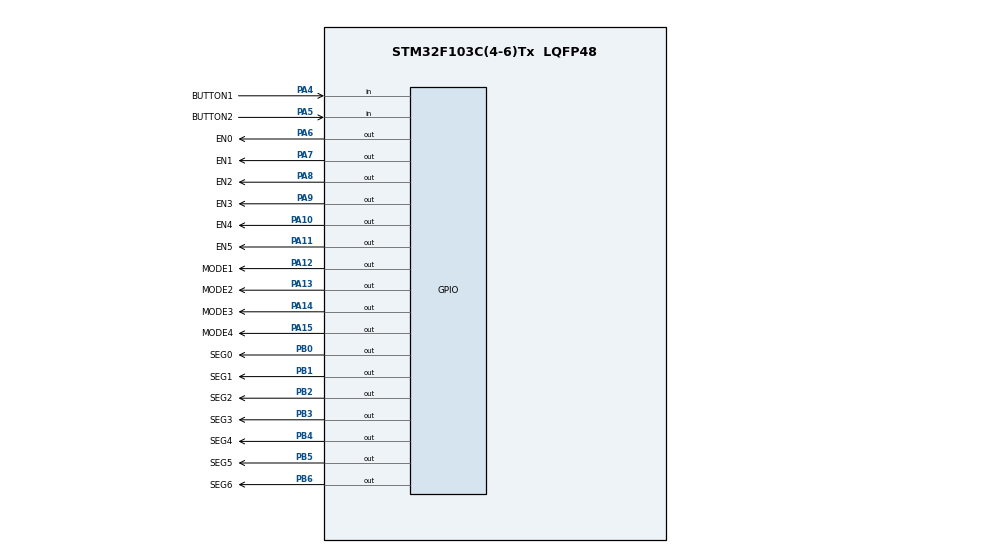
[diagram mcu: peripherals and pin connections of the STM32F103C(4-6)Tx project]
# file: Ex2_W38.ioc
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Mcu.Family=STM32F1
PD1-OSC_OUT.Mode=HSE-External-Oscillator
PA9.GPIO_Label=EN3
PA14.GPIO_Label=MODE3
PA11.GPIO_Label=EN5
PA6.GPIO_Label=EN0
PB0.GPIO_Label=SEG0
PB6.GPIO_Label=SEG6
PD0-OSC_IN.Signal=RCC_OSC_IN
VP_SYS_VS_ND.Mode=No_Debug
PA12.GPIO_Label=MODE1
ProjectManager.StackSize=0x400
PD1-OSC_OUT.Signal=RCC_OSC_OUT
PA13.Signal=GPIO_Output
PA15.GPIO_Label=MODE4
PA12.Signal=GPIO_Output
PA8.GPIO_Label=EN2
ProjectManager.TargetToolchain=STM32CubeIDE
PA9.Signal=GPIO_Output
PB6.Signal=GPIO_Output
PD0-OSC_IN.Mode=HSE-External-Oscillator
PA5.Signal=GPIO_Input
PB2.Signal=GPIO_Output
board=custom
RCC.APB2Freq_Value=8000000
PB4.GPIO_Label=SEG4
VP_TIM2_VS_ClockSourceINT.Mode=Internal
PB1.GPIO_Label=SEG1
NVIC.TIM2_IRQn=true\:0\:0\:false\:false\:true\:true\:true
PA10.GPIO_Label=EN4
PA8.Signal=GPIO_Output
TIM2.Period=9
Mcu.Name=STM32F103C(4-6)Tx
PA13.GPIO_Label=MODE2
PB3.Signal=GPIO_Output
PA4.Signal=GPIO_Input
Mcu.Package=LQFP48
PB5.Signal=GPIO_Output
TIM2.Prescaler=7999
PB1.Signal=GPIO_Output
PA6.Signal=GPIO_Output
PA7.GPIO_Label=EN1
PA5.GPIO_Label=BUTTON2
PA11.Signal=GPIO_Output
PA10.Signal=GPIO_Output
PA14.Signal=GPIO_Output
PB2.GPIO_Label=SEG2
PA15.Signal=GPIO_Output
ProjectManager.HeapSize=0x200
NVIC.PriorityGroup=NVIC_PRIORITYGROUP_4
PB5.GPIO_Label=SEG5
RCC.APB1Freq_Value=8000000
PB0.Signal=GPIO_Output
PA4.GPIO_Label=BUTTON1
PB4.Signal=GPIO_Output
PA7.Signal=GPIO_Output
PB3.GPIO_Label=SEG3

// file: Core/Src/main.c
/* USER CODE BEGIN Header */
/**
  ******************************************************************************
  * @file           : main.c
  * @brief          : Main program body
  ******************************************************************************
  * @attention
  *
  * <h2><center>&copy; Copyright (c) 2021 STMicroelectronics.
  * All rights reserved.</center></h2>
  *
  * This software component is licensed by ST under BSD 3-Clause license,
  * the "License"; You may not use this file except in compliance with the
  * License. You may obtain a copy of the License at:
  *                        opensource.org/licenses/BSD-3-Clause
  *
  ******************************************************************************
  */
/* USER CODE END Header */
#include "main.h"
#include "input_processing.h"

/* USER CODE BEGIN Includes */

#define time_auto_incre 20 //0.2s

enum ButtonState1 {BUTTON1_RELEASED, BUTTON1_PRESSED};
enum ButtonState1 buttonState1 = BUTTON1_RELEASED ;

enum ButtonState2 {BUTTON2_RELEASED, BUTTON2_PRESSED, BUTTON2_PRESSED_MORE_THAN_1_SECOND};
enum ButtonState2 buttonState2 = BUTTON2_RELEASED ;

int mode = -1;
int down = 100;
int flag_auto_incre = 0;
int start = 0;

void display7SEG(int num) //display 7SEG-LED
{
	/*HAL_GPIO_WritePin(GPIOB, GPIO_PIN_0, GPIO_PIN_SET);
	HAL_GPIO_WritePin(GPIOB, GPIO_PIN_1, GPIO_PIN_SET);
	HAL_GPIO_WritePin(GPIOB, GPIO_PIN_2, GPIO_PIN_SET);
	HAL_GPIO_WritePin(GPIOB, GPIO_PIN_3, GPIO_PIN_SET);
	HAL_GPIO_WritePin(GPIOB, GPIO_PIN_4, GPIO_PIN_SET);
	HAL_GPIO_WritePin(GPIOB, GPIO_PIN_5, GPIO_PIN_SET);
	HAL_GPIO_WritePin(GPIOB, GPIO_PIN_6, GPIO_PIN_SET);*/
	switch (num) {
		case 0:
			HAL_GPIO_WritePin(GPIOB, GPIO_PIN_0, GPIO_PIN_RESET);
			HAL_GPIO_WritePin(GPIOB, GPIO_PIN_1, GPIO_PIN_RESET);
			HAL_GPIO_WritePin(GPIOB, GPIO_PIN_2, GPIO_PIN_RESET);
			HAL_GPIO_WritePin(GPIOB, GPIO_PIN_3, GPIO_PIN_RESET);
			HAL_GPIO_WritePin(GPIOB, GPIO_PIN_4, GPIO_PIN_RESET);
			HAL_GPIO_WritePin(GPIOB, GPIO_PIN_5, GPIO_PIN_RESET);
			HAL_GPIO_WritePin(GPIOB, GPIO_PIN_6, GPIO_PIN_SET);
			break;
		case 1:
			HAL_GPIO_WritePin(GPIOB, GPIO_PIN_0, GPIO_PIN_SET);
				HAL_GPIO_WritePin(GPIOB, GPIO_PIN_1, GPIO_PIN_RESET);
				HAL_GPIO_WritePin(GPIOB, GPIO_PIN_2, GPIO_PIN_RESET);
				HAL_GPIO_WritePin(GPIOB, GPIO_PIN_3, GPIO_PIN_SET);
				HAL_GPIO_WritePin(GPIOB, GPIO_PIN_4, GPIO_PIN_SET);
				HAL_GPIO_WritePin(GPIOB, GPIO_PIN_5, GPIO_PIN_SET);
				HAL_GPIO_WritePin(GPIOB, GPIO_PIN_6, GPIO_PIN_SET);
			break;
		case 2:
			HAL_GPIO_WritePin(GPIOB, GPIO_PIN_0, GPIO_PIN_RESET);
				HAL_GPIO_WritePin(GPIOB, GPIO_PIN_1, GPIO_PIN_RESET);
				HAL_GPIO_WritePin(GPIOB, GPIO_PIN_2, GPIO_PIN_SET);
				HAL_GPIO_WritePin(GPIOB, GPIO_PIN_3, GPIO_PIN_RESET);
				HAL_GPIO_WritePin(GPIOB, GPIO_PIN_4, GPIO_PIN_RESET);
				HAL_GPIO_WritePin(GPIOB, GPIO_PIN_5, GPIO_PIN_SET);
				HAL_GPIO_WritePin(GPIOB, GPIO_PIN_6, GPIO_PIN_RESET);
			break;
		case 3:
			HAL_GPIO_WritePin(GPIOB, GPIO_PIN_0, GPIO_PIN_RESET);
				HAL_GPIO_WritePin(GPIOB, GPIO_PIN_1, GPIO_PIN_RESET);
				HAL_GPIO_WritePin(GPIOB, GPIO_PIN_2, GPIO_PIN_RESET);
				HAL_GPIO_WritePin(GPIOB, GPIO_PIN_3, GPIO_PIN_RESET);
				HAL_GPIO_WritePin(GPIOB, GPIO_PIN_4, GPIO_PIN_SET);
				HAL_GPIO_WritePin(GPIOB, GPIO_PIN_5, GPIO_PIN_SET);
				HAL_GPIO_WritePin(GPIOB, GPIO_PIN_6, GPIO_PIN_RESET);
			break;
		case 4:
			HAL_GPIO_WritePin(GPIOB, GPIO_PIN_0, GPIO_PIN_SET);
				HAL_GPIO_WritePin(GPIOB, GPIO_PIN_1, GPIO_PIN_RESET);
				HAL_GPIO_WritePin(GPIOB, GPIO_PIN_2, GPIO_PIN_RESET);
				HAL_GPIO_WritePin(GPIOB, GPIO_PIN_3, GPIO_PIN_SET);
				HAL_GPIO_WritePin(GPIOB, GPIO_PIN_4, GPIO_PIN_SET);
				HAL_GPIO_WritePin(GPIOB, GPIO_PIN_5, GPIO_PIN_RESET);
				HAL_GPIO_WritePin(GPIOB, GPIO_PIN_6, GPIO_PIN_RESET);
			break;
		case 5:
			HAL_GPIO_WritePin(GPIOB, GPIO_PIN_0, GPIO_PIN_RESET);
				HAL_GPIO_WritePin(GPIOB, GPIO_PIN_1, GPIO_PIN_SET);
				HAL_GPIO_WritePin(GPIOB, GPIO_PIN_2, GPIO_PIN_RESET);
				HAL_GPIO_WritePin(GPIOB, GPIO_PIN_3, GPIO_PIN_RESET);
				HAL_GPIO_WritePin(GPIOB, GPIO_PIN_4, GPIO_PIN_SET);
				HAL_GPIO_WritePin(GPIOB, GPIO_PIN_5, GPIO_PIN_RESET);
				HAL_GPIO_WritePin(GPIOB, GPIO_PIN_6, GPIO_PIN_RESET);
			break;
		case 6:
			HAL_GPIO_WritePin(GPIOB, GPIO_PIN_0, GPIO_PIN_RESET);
				HAL_GPIO_WritePin(GPIOB, GPIO_PIN_1, GPIO_PIN_SET);
				HAL_GPIO_WritePin(GPIOB, GPIO_PIN_2, GPIO_PIN_RESET);
				HAL_GPIO_WritePin(GPIOB, GPIO_PIN_3, GPIO_PIN_RESET);
				HAL_GPIO_WritePin(GPIOB, GPIO_PIN_4, GPIO_PIN_RESET);
				HAL_GPIO_WritePin(GPIOB, GPIO_PIN_5, GPIO_PIN_RESET);
				HAL_GPIO_WritePin(GPIOB, GPIO_PIN_6, GPIO_PIN_RESET);
			break;
		case 7:
			HAL_GPIO_WritePin(GPIOB, GPIO_PIN_0, GPIO_PIN_RESET);
				HAL_GPIO_WritePin(GPIOB, GPIO_PIN_1, GPIO_PIN_RESET);
				HAL_GPIO_WritePin(GPIOB, GPIO_PIN_2, GPIO_PIN_RESET);
				HAL_GPIO_WritePin(GPIOB, GPIO_PIN_3, GPIO_PIN_SET);
				HAL_GPIO_WritePin(GPIOB, GPIO_PIN_4, GPIO_PIN_SET);
				HAL_GPIO_WritePin(GPIOB, GPIO_PIN_5, GPIO_PIN_SET);
				HAL_GPIO_WritePin(GPIOB, GPIO_PIN_6, GPIO_PIN_SET);
			break;
		case 8:
			HAL_GPIO_WritePin(GPIOB, GPIO_PIN_0, GPIO_PIN_RESET);
			HAL_GPIO_WritePin(GPIOB, GPIO_PIN_1, GPIO_PIN_RESET);
			HAL_GPIO_WritePin(GPIOB, GPIO_PIN_2, GPIO_PIN_RESET);
			HAL_GPIO_WritePin(GPIOB, GPIO_PIN_3, GPIO_PIN_RESET);
			HAL_GPIO_WritePin(GPIOB, GPIO_PIN_4, GPIO_PIN_RESET);
			HAL_GPIO_WritePin(GPIOB, GPIO_PIN_5, GPIO_PIN_RESET);
			HAL_GPIO_WritePin(GPIOB, GPIO_PIN_6, GPIO_PIN_RESET);

			break;
		case 9:
			HAL_GPIO_WritePin(GPIOB, GPIO_PIN_0, GPIO_PIN_RESET);
			HAL_GPIO_WritePin(GPIOB, GPIO_PIN_1, GPIO_PIN_RESET);
			HAL_GPIO_WritePin(GPIOB, GPIO_PIN_2, GPIO_PIN_RESET);
			HAL_GPIO_WritePin(GPIOB, GPIO_PIN_3, GPIO_PIN_RESET);
			HAL_GPIO_WritePin(GPIOB, GPIO_PIN_4, GPIO_PIN_SET);
			HAL_GPIO_WritePin(GPIOB, GPIO_PIN_5, GPIO_PIN_RESET);
			HAL_GPIO_WritePin(GPIOB, GPIO_PIN_6, GPIO_PIN_RESET);
			break;
		default:
			HAL_GPIO_WritePin(GPIOB, GPIO_PIN_3, GPIO_PIN_SET);
			break;
		}
}
/* USER CODE END PTD */

/* Private define ------------------------------------------------------------*/
/* USER CODE BEGIN PD */
/* USER CODE END PD */

/* Private macro -------------------------------------------------------------*/
/* USER CODE BEGIN PM */

int time[3] = {15, 8, 50};
int min=0, sec=0, msec=0;
const int MAX_LED = 6;
int index_led = 0;
int led_buffer [6] = {1 , 2 , 3 , 4, 5, 6};
void update7SEG ( int index ) {
switch ( index ) {
case 0:
 // Display the first 7 SEG with led_buffer [0]
	HAL_GPIO_WritePin(GPIOA, GPIO_PIN_6, 0);
	HAL_GPIO_WritePin(GPIOA, GPIO_PIN_7, 1);
	HAL_GPIO_WritePin(GPIOA, GPIO_PIN_8, 1);
	HAL_GPIO_WritePin(GPIOA, GPIO_PIN_9, 1);
	HAL_GPIO_WritePin(GPIOA, GPIO_PIN_10, 1);
	HAL_GPIO_WritePin(GPIOA, GPIO_PIN_11, 1);
	display7SEG(led_buffer[0]);
 break ;
 case 1:
 // Display the second 7 SEG with led_buffer [1]
	 HAL_GPIO_WritePin(GPIOA, GPIO_PIN_6, 1);
	 HAL_GPIO_WritePin(GPIOA, GPIO_PIN_7, 0);
	 HAL_GPIO_WritePin(GPIOA, GPIO_PIN_8, 1);
	 HAL_GPIO_WritePin(GPIOA, GPIO_PIN_9, 1);
		HAL_GPIO_WritePin(GPIOA, GPIO_PIN_10, 1);
		HAL_GPIO_WritePin(GPIOA, GPIO_PIN_11, 1);
	 display7SEG(led_buffer[1]);
 break ;
 case 2:
 // Display the third 7 SEG with led_buffer [2]
	 HAL_GPIO_WritePin(GPIOA, GPIO_PIN_6, 1);
	 HAL_GPIO_WritePin(GPIOA, GPIO_PIN_7, 1);
	 HAL_GPIO_WritePin(GPIOA, GPIO_PIN_8, 0);
	 HAL_GPIO_WritePin(GPIOA, GPIO_PIN_9, 1);
		HAL_GPIO_WritePin(GPIOA, GPIO_PIN_10, 1);
		HAL_GPIO_WritePin(GPIOA, GPIO_PIN_11, 1);
	 display7SEG(led_buffer[2]);
 break ;
 case 3:
 // Display the forth 7 SEG with led_buffer [3]
	 HAL_GPIO_WritePin(GPIOA, GPIO_PIN_6, 1);
	 HAL_GPIO_WritePin(GPIOA, GPIO_PIN_7, 1);
	 HAL_GPIO_WritePin(GPIOA, GPIO_PIN_8, 1);
	 HAL_GPIO_WritePin(GPIOA, GPIO_PIN_9, 0);
		HAL_GPIO_WritePin(GPIOA, GPIO_PIN_10, 1);
		HAL_GPIO_WritePin(GPIOA, GPIO_PIN_11, 1);
	 display7SEG(led_buffer[3]);
 break ;
 case 4:
 // Display the forth 7 SEG with led_buffer [3]
	 HAL_GPIO_WritePin(GPIOA, GPIO_PIN_6, 1);
	 HAL_GPIO_WritePin(GPIOA, GPIO_PIN_7, 1);
	 HAL_GPIO_WritePin(GPIOA, GPIO_PIN_8, 1);
	 HAL_GPIO_WritePin(GPIOA, GPIO_PIN_9, 1);
		HAL_GPIO_WritePin(GPIOA, GPIO_PIN_10, 0);
		HAL_GPIO_WritePin(GPIOA, GPIO_PIN_11, 1);
	 display7SEG(led_buffer[4]);
 break ;
 case 5:
 // Display the forth 7 SEG with led_buffer [3]
	 HAL_GPIO_WritePin(GPIOA, GPIO_PIN_6, 1);
	 HAL_GPIO_WritePin(GPIOA, GPIO_PIN_7, 1);
	 HAL_GPIO_WritePin(GPIOA, GPIO_PIN_8, 1);
	 HAL_GPIO_WritePin(GPIOA, GPIO_PIN_9, 1);
		HAL_GPIO_WritePin(GPIOA, GPIO_PIN_10, 1);
		HAL_GPIO_WritePin(GPIOA, GPIO_PIN_11, 0);
	 display7SEG(led_buffer[5]);
 break ;
 default :
 break ;
 }
 }

void updateClockBuffer()
{
	if(mode==4)
	{
		led_buffer[0] = min/10;
		led_buffer[1] = min%10;
		led_buffer[2] = sec/10;
		led_buffer[3] = sec%10;
		led_buffer[4] = msec/10;
		led_buffer[5] = msec%10;
	}
	else
	{
		led_buffer[0] = time[0]/10;
		led_buffer[1] = time[0]%10;
		led_buffer[2] = time[1]/10;
		led_buffer[3] = time[1]%10;
		led_buffer[4] = time[2]/10;
		led_buffer[5] = time[2]%10;
	}
}

/* USER CODE END Includes */

/* USER CODE BEGIN PTD */
int timer0_counter = 0;
int timer0_flag = 0;
int TIMER_CYCLE = 10;

int timer1_counter = 0;
int timer1_flag = 0;

void setTimer0(int duration ) {
	timer0_counter = duration / TIMER_CYCLE ;
	timer0_flag = 0;
}
void setTimer1(int duration ) {
	timer1_counter = duration / TIMER_CYCLE ;
	timer1_flag = 0;
}
void timerun() {
	if( timer0_counter > 0) {
		timer0_counter--;
		if( timer0_counter == 0) timer0_flag = 1;
	}
	if( timer1_counter > 0) {
		timer1_counter--;
		if( timer1_counter == 0) timer1_flag = 1;
	}
}
/* USER CODE END PTD */

/* USER CODE BEGIN PM */

/* USER CODE END PTD */

/* Private define ------------------------------------------------------------*/
/* USER CODE BEGIN PD */
/* USER CODE END PD */

/* Private macro -------------------------------------------------------------*/
/* USER CODE BEGIN PM */
void led_of_mode(void){
	switch(mode){
	case 0:
		  HAL_GPIO_WritePin(GPIOA, GPIO_PIN_12, 1);
		  HAL_GPIO_WritePin(GPIOA, GPIO_PIN_13, 1);
		  HAL_GPIO_WritePin(GPIOA, GPIO_PIN_14, 1);
		  HAL_GPIO_WritePin(GPIOA, GPIO_PIN_15, 1);
		break;
	case 1:
		  HAL_GPIO_WritePin(GPIOA, GPIO_PIN_12, 0);
		  HAL_GPIO_WritePin(GPIOA, GPIO_PIN_13, 1);
		  HAL_GPIO_WritePin(GPIOA, GPIO_PIN_14, 1);
		  HAL_GPIO_WritePin(GPIOA, GPIO_PIN_15, 1);
		 // HAL_GPIO_TogglePin(GPIOA, GPIO_PIN_6);
		 // HAL_GPIO_TogglePin(GPIOA, GPIO_PIN_7);
		break;
	case 2:
		  HAL_GPIO_WritePin(GPIOA, GPIO_PIN_12, 1);
		  HAL_GPIO_WritePin(GPIOA, GPIO_PIN_13, 0);
		  HAL_GPIO_WritePin(GPIOA, GPIO_PIN_14, 1);
		  HAL_GPIO_WritePin(GPIOA, GPIO_PIN_15, 1);
		 //HAL_GPIO_TogglePin( GPIOA, GPIO_PIN_8 );
		 // HAL_GPIO_TogglePin( GPIOA, GPIO_PIN_9 );
		break;
	case 3:
		  HAL_GPIO_WritePin(GPIOA, GPIO_PIN_12, 1);
		  HAL_GPIO_WritePin(GPIOA, GPIO_PIN_13, 1);
		  HAL_GPIO_WritePin(GPIOA, GPIO_PIN_14, 0);
		  HAL_GPIO_WritePin(GPIOA, GPIO_PIN_15, 1);
		  //HAL_GPIO_TogglePin( GPIOA, GPIO_PIN_10 );
		 // HAL_GPIO_TogglePin( GPIOA, GPIO_PIN_11 );
		break;
	case 4:
		  HAL_GPIO_WritePin(GPIOA, GPIO_PIN_12, 1);
		  HAL_GPIO_WritePin(GPIOA, GPIO_PIN_13, 1);
		  HAL_GPIO_WritePin(GPIOA, GPIO_PIN_14, 1);
		  HAL_GPIO_WritePin(GPIOA, GPIO_PIN_15, 0);
		break;

	default:
	  HAL_GPIO_WritePin(GPIOA, GPIO_PIN_12, 1);
	  HAL_GPIO_WritePin(GPIOA, GPIO_PIN_13, 1);
	  HAL_GPIO_WritePin(GPIOA, GPIO_PIN_14, 1);
	  HAL_GPIO_WritePin(GPIOA, GPIO_PIN_15, 1);
		break;
	}
}

void fsm_for_input1_processing(void){
	led_of_mode();
	switch(buttonState1){
	case BUTTON1_RELEASED:
		if(get_button_value(0) == GPIO_PIN_RESET ) {
			buttonState1 = BUTTON1_PRESSED;
			if(mode == 4) mode = 0; else mode++;
			if(mode == 4)
			{
				min = 0;
				sec = 0;
				msec = 0;
				start = 0;
			}
		}
		break;
	case BUTTON1_PRESSED:
		if(get_button_value(0) == GPIO_PIN_SET ) {
			buttonState1 = BUTTON1_RELEASED;
		}
		break;
	default:
		break;
	}
}
void fsm_for_input2_processing(void){
	switch(buttonState2){
	case BUTTON2_RELEASED:
		if(get_button_value(1) == GPIO_PIN_RESET ) {
			buttonState2 = BUTTON2_PRESSED;
			if(mode==1||mode==2||mode==3) {time[mode-1]++;}
			if(mode==4) {start = 1-start;}
			if(start==0)
			{
				msec = 0;
				sec = 0;
				min = 0;
			}
		}
		break;
	case BUTTON2_PRESSED:
		if(get_button_value(1) == GPIO_PIN_SET ) {
			buttonState2 = BUTTON2_RELEASED;
		}
		else
		{
			if( get_flag_for_button_press_1s (1) == 1) {
				buttonState2 = BUTTON2_PRESSED_MORE_THAN_1_SECOND ;
				flag_auto_incre = 1;
			}
		}
		break;
	case BUTTON2_PRESSED_MORE_THAN_1_SECOND:
		if(get_button_value(1) == GPIO_PIN_SET ) {
			buttonState2 = BUTTON2_RELEASED;
			flag_auto_incre = 0;
		}
		break;
	default:
		break;
	}
}
/* USER CODE END PM */

TIM_HandleTypeDef htim2;

void SystemClock_Config(void);
static void MX_GPIO_Init(void);
static void MX_TIM2_Init(void);

int main(void)
{

  /* MCU Configuration--------------------------------------------------------*/

  /* Reset of all peripherals, Initializes the Flash interface and the Systick. */
  HAL_Init();

  /* Configure the system clock */
  SystemClock_Config();

  /* Initialize all configured peripherals */
  MX_GPIO_Init();
  MX_TIM2_Init();
  /* USER CODE BEGIN 2 */
  HAL_TIM_Base_Start_IT(&htim2);
  /* USER CODE END 2 */

  /* Infinite loop */
  /* USER CODE BEGIN WHILE */
  setTimer0(10);
  setTimer1(10);
  int index_led = 0;
  int blink=9;
  while (1)
  {
    /* USER CODE END WHILE */
	  fsm_for_input1_processing();
	  fsm_for_input2_processing();
		  if(timer1_flag == 1) //cycle = 0.25s for scaning 6 leds
		  {
			  if(mode==1) //blinking leds of hour
			  {
				  if(blink==1 && (index_led==0 || index_led==1)) index_led=2;
			  }
			  else if(mode == 2)
			  {
				  if(blink==1 && (index_led==2 || index_led==3)) index_led=4;
			  }
			  else if(mode == 3)
			  {
				  if(blink==1 && (index_led==4 || index_led==5)) index_led=0;
			  }
				  update7SEG(index_led);
				  setTimer1(200);
				  if(index_led==5) index_led=0;
				  	  else index_led++;
				  if(blink==0) blink=9; else blink--;
		  }
		  if(timer0_flag == 1) //cycle = 1s for incre sec
		  {
			  time[2]++;
			  if ( time[2] >= 60) {
				  time[2] = 0;
				  time[1]++;
			  }
			  if( time[1] >= 60) {
				  time[1] = 0;
				  time[0]++;
			  }
			  if( time[0] >=24) {
				  time[0] = 0;
			  }
			  updateClockBuffer();
			  setTimer0(1000);
		  }

  }
}

void SystemClock_Config(void)
{
  RCC_OscInitTypeDef RCC_OscInitStruct = {0};
  RCC_ClkInitTypeDef RCC_ClkInitStruct = {0};

  /** Initializes the RCC Oscillators according to the specified parameters
  * in the RCC_OscInitTypeDef structure.
  */
  RCC_OscInitStruct.OscillatorType = RCC_OSCILLATORTYPE_HSI;
  RCC_OscInitStruct.HSIState = RCC_HSI_ON;
  RCC_OscInitStruct.HSICalibrationValue = RCC_HSICALIBRATION_DEFAULT;
  RCC_OscInitStruct.PLL.PLLState = RCC_PLL_NONE;
  if (HAL_RCC_OscConfig(&RCC_OscInitStruct) != HAL_OK)
  {
    Error_Handler();
  }
  /** Initializes the CPU, AHB and APB buses clocks
  */
  RCC_ClkInitStruct.ClockType = RCC_CLOCKTYPE_HCLK|RCC_CLOCKTYPE_SYSCLK
                              |RCC_CLOCKTYPE_PCLK1|RCC_CLOCKTYPE_PCLK2;
  RCC_ClkInitStruct.SYSCLKSource = RCC_SYSCLKSOURCE_HSI;
  RCC_ClkInitStruct.AHBCLKDivider = RCC_SYSCLK_DIV1;
  RCC_ClkInitStruct.APB1CLKDivider = RCC_HCLK_DIV1;
  RCC_ClkInitStruct.APB2CLKDivider = RCC_HCLK_DIV1;

  if (HAL_RCC_ClockConfig(&RCC_ClkInitStruct, FLASH_LATENCY_0) != HAL_OK)
  {
    Error_Handler();
  }
}

static void MX_TIM2_Init(void)
{

  TIM_ClockConfigTypeDef sClockSourceConfig = {0};
  TIM_MasterConfigTypeDef sMasterConfig = {0};

  htim2.Instance = TIM2;
  htim2.Init.Prescaler = 7999;
  htim2.Init.CounterMode = TIM_COUNTERMODE_UP;
  htim2.Init.Period = 9;
  htim2.Init.ClockDivision = TIM_CLOCKDIVISION_DIV1;
  htim2.Init.AutoReloadPreload = TIM_AUTORELOAD_PRELOAD_DISABLE;
  if (HAL_TIM_Base_Init(&htim2) != HAL_OK)
  {
    Error_Handler();
  }
  sClockSourceConfig.ClockSource = TIM_CLOCKSOURCE_INTERNAL;
  if (HAL_TIM_ConfigClockSource(&htim2, &sClockSourceConfig) != HAL_OK)
  {
    Error_Handler();
  }
  sMasterConfig.MasterOutputTrigger = TIM_TRGO_RESET;
  sMasterConfig.MasterSlaveMode = TIM_MASTERSLAVEMODE_DISABLE;
  if (HAL_TIMEx_MasterConfigSynchronization(&htim2, &sMasterConfig) != HAL_OK)
  {
    Error_Handler();
  }

}

static void MX_GPIO_Init(void)
{
  GPIO_InitTypeDef GPIO_InitStruct = {0};

  /* GPIO Ports Clock Enable */
  __HAL_RCC_GPIOD_CLK_ENABLE();
  __HAL_RCC_GPIOA_CLK_ENABLE();
  __HAL_RCC_GPIOB_CLK_ENABLE();

  /*Configure GPIO pin Output Level */
  HAL_GPIO_WritePin(GPIOA, EN0_Pin|EN1_Pin|EN2_Pin|EN3_Pin
                          |EN4_Pin|EN5_Pin|MODE1_Pin|MODE2_Pin
                          |MODE3_Pin|MODE4_Pin, GPIO_PIN_RESET);

  /*Configure GPIO pin Output Level */
  HAL_GPIO_WritePin(GPIOB, SEG0_Pin|SEG1_Pin|SEG2_Pin|SEG3_Pin
                          |SEG4_Pin|SEG5_Pin|SEG6_Pin, GPIO_PIN_RESET);

  /*Configure GPIO pins : BUTTON1_Pin BUTTON2_Pin */
  GPIO_InitStruct.Pin = BUTTON1_Pin|BUTTON2_Pin;
  GPIO_InitStruct.Mode = GPIO_MODE_INPUT;
  GPIO_InitStruct.Pull = GPIO_NOPULL;
  HAL_GPIO_Init(GPIOA, &GPIO_InitStruct);

  /*Configure GPIO pins : EN0_Pin EN1_Pin EN2_Pin EN3_Pin
                           EN4_Pin EN5_Pin MODE1_Pin MODE2_Pin
                           MODE3_Pin MODE4_Pin */
  GPIO_InitStruct.Pin = EN0_Pin|EN1_Pin|EN2_Pin|EN3_Pin
                          |EN4_Pin|EN5_Pin|MODE1_Pin|MODE2_Pin
                          |MODE3_Pin|MODE4_Pin;
  GPIO_InitStruct.Mode = GPIO_MODE_OUTPUT_PP;
  GPIO_InitStruct.Pull = GPIO_NOPULL;
  GPIO_InitStruct.Speed = GPIO_SPEED_FREQ_LOW;
  HAL_GPIO_Init(GPIOA, &GPIO_InitStruct);

  /*Configure GPIO pins : SEG0_Pin SEG1_Pin SEG2_Pin SEG3_Pin
                           SEG4_Pin SEG5_Pin SEG6_Pin */
  GPIO_InitStruct.Pin = SEG0_Pin|SEG1_Pin|SEG2_Pin|SEG3_Pin
                          |SEG4_Pin|SEG5_Pin|SEG6_Pin;
  GPIO_InitStruct.Mode = GPIO_MODE_OUTPUT_PP;
  GPIO_InitStruct.Pull = GPIO_NOPULL;
  GPIO_InitStruct.Speed = GPIO_SPEED_FREQ_LOW;
  HAL_GPIO_Init(GPIOB, &GPIO_InitStruct);

}

/* USER CODE BEGIN 4 */
void HAL_TIM_PeriodElapsedCallback ( TIM_HandleTypeDef * htim )
{
	//do chu ki la 10ms nen ham nay xu li gi sau 10ms
	timerun();
	button_reading();
	down--;
	if(down<=0)down=100;
	if(flag_auto_incre==1 && down%time_auto_incre == 0 && mode>=1 && mode<=3) time[mode-1]++;
	if(mode==4 && start==1) msec++;
	if(msec>100)
	{
		msec=0;
		sec++;
	}
	if(sec>60)
	{
		sec=0;
		min++;
	}
	if(min>60) min = 0;

	/*
	 * if(htim->Instance == htim3.Instance){
	 *      //Interrupt
	 * }
	 *
	 */
}
/* USER CODE END 4 */

void Error_Handler(void)
{
  __disable_irq();
  while (1)
  {
  }
}

/************************ (C) COPYRIGHT STMicroelectronics *****END OF FILE****/
